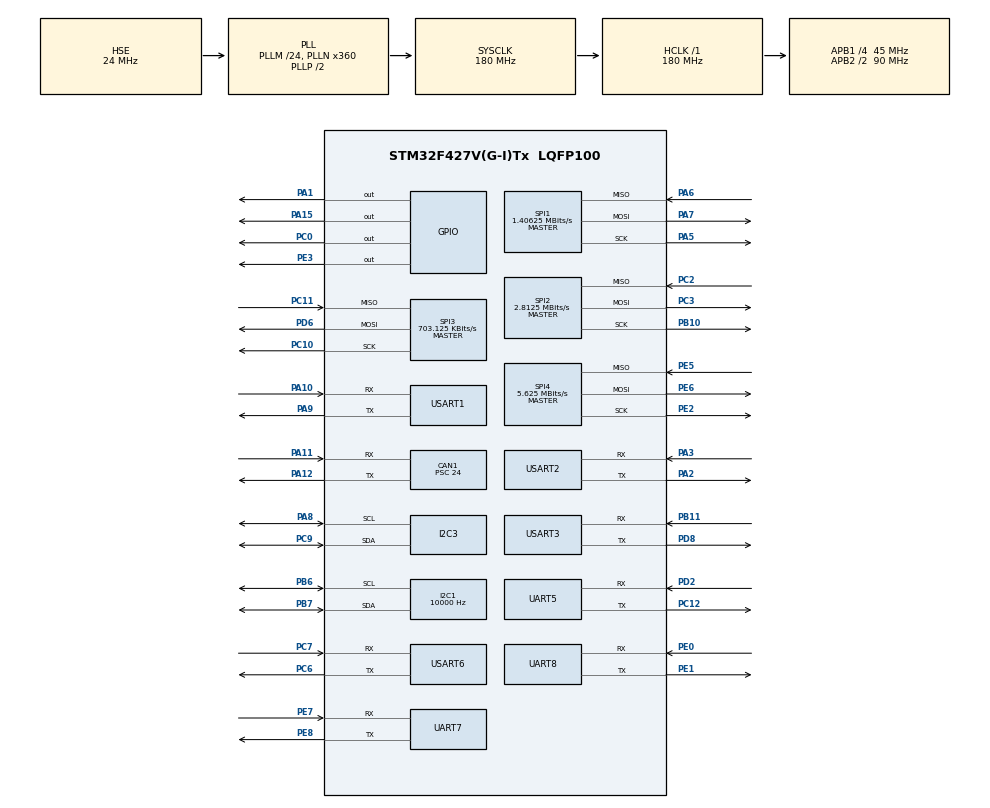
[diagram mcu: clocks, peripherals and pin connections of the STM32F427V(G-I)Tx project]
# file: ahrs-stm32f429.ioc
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CAN1.BS1=CAN_BS1_12TQ
CAN1.BS2=CAN_BS2_2TQ
CAN1.CalculateTimeQuantum=533.3333333333333
CAN1.NART=ENABLE
CAN1.Prescaler=24
I2C1.ClockSpeed=10000
Mcu.Family=STM32F4
Mcu.Name=STM32F427V(G-I)Tx
Mcu.Package=LQFP100
NVIC.CAN1_RX0_IRQn=true\:0\:0\:false\:false\:true\:true\:true
NVIC.CAN1_RX1_IRQn=true\:0\:0\:false\:false\:true\:true\:true
NVIC.CAN1_SCE_IRQn=true\:0\:0\:false\:false\:true\:true\:true
NVIC.CAN1_TX_IRQn=true\:0\:0\:false\:false\:true\:true\:true
NVIC.PriorityGroup=NVIC_PRIORITYGROUP_4
PA1.GPIO_PuPd=GPIO_PULLUP
PA1.PinState=GPIO_PIN_SET
PA1.Signal=GPIO_Output
PA10.Mode=Asynchronous
PA10.Signal=USART1_RX
PA11.Mode=Master
PA11.Signal=CAN1_RX
PA12.Mode=Master
PA12.Signal=CAN1_TX
PA13.Mode=Trace_Asynchronous_SW
PA13.Signal=SYS_JTMS-SWDIO
PA14.Mode=Trace_Asynchronous_SW
PA14.Signal=SYS_JTCK-SWCLK
PA15.Signal=GPIO_Output
PA2.Mode=Asynchronous
PA2.Signal=USART2_TX
PA3.Mode=Asynchronous
PA3.Signal=USART2_RX
PA5.GPIO_PuPd=GPIO_PULLUP
PA5.Mode=Full_Duplex_Master
PA5.Signal=SPI1_SCK
PA6.GPIO_PuPd=GPIO_PULLUP
PA6.Mode=Full_Duplex_Master
PA6.Signal=SPI1_MISO
PA7.GPIO_PuPd=GPIO_PULLUP
PA7.Mode=Full_Duplex_Master
PA7.Signal=SPI1_MOSI
PA8.Mode=I2C
PA8.Signal=I2C3_SCL
PA9.Mode=Asynchronous
PA9.Signal=USART1_TX
PB10.GPIO_Mode=GPIO_MODE_AF_PP
PB10.GPIO_PuPd=GPIO_PULLUP
PB10.GPIO_Speed=GPIO_SPEED_FREQ_VERY_HIGH
PB10.Mode=Full_Duplex_Master
PB10.Signal=SPI2_SCK
PB11.Mode=Asynchronous
PB11.Signal=USART3_RX
PB3.Mode=Trace_Asynchronous_SW
PB3.Signal=SYS_JTDO-SWO
PB6.Mode=I2C
PB6.Signal=I2C1_SCL
PB7.Mode=I2C
PB7.Signal=I2C1_SDA
PC0.GPIO_ModeDefaultOutputPP=GPIO_MODE_OUTPUT_PP
PC0.GPIO_PuPd=GPIO_PULLUP
PC0.GPIO_Speed=GPIO_SPEED_FREQ_LOW
PC0.PinState=GPIO_PIN_SET
PC0.Signal=GPIO_Output
PC10.Mode=Full_Duplex_Master
PC10.Signal=SPI3_SCK
PC11.Mode=Full_Duplex_Master
PC11.Signal=SPI3_MISO
PC12.Mode=Asynchronous
PC12.Signal=UART5_TX
PC2.GPIO_Mode=GPIO_MODE_AF_PP
PC2.GPIO_PuPd=GPIO_PULLUP
PC2.GPIO_Speed=GPIO_SPEED_FREQ_VERY_HIGH
PC2.Mode=Full_Duplex_Master
PC2.Signal=SPI2_MISO
PC3.GPIO_Mode=GPIO_MODE_AF_PP
PC3.GPIO_PuPd=GPIO_PULLUP
PC3.GPIO_Speed=GPIO_SPEED_FREQ_VERY_HIGH
PC3.Mode=Full_Duplex_Master
PC3.Signal=SPI2_MOSI
PC6.Mode=Asynchronous
PC6.Signal=USART6_TX
PC7.Mode=Asynchronous
PC7.Signal=USART6_RX
PC9.Mode=I2C
PC9.Signal=I2C3_SDA
PD2.Mode=Asynchronous
PD2.Signal=UART5_RX
PD6.Mode=Full_Duplex_Master
PD6.Signal=SPI3_MOSI
PD8.Mode=Asynchronous
PD8.Signal=USART3_TX
PE0.Mode=Asynchronous
PE0.Signal=UART8_RX
PE1.Mode=Asynchronous
PE1.Signal=UART8_TX
PE2.Mode=Full_Duplex_Master
PE2.Signal=SPI4_SCK
PE3.Signal=GPIO_Output
PE5.Mode=Full_Duplex_Master
PE5.Signal=SPI4_MISO
PE6.Mode=Full_Duplex_Master
PE6.Signal=SPI4_MOSI
PE7.Mode=Asynchronous
PE7.Signal=UART7_RX
PE8.Mode=Asynchronous
PE8.Signal=UART7_TX
PH0/OSC_IN.Mode=HSE-External-Oscillator
PH0/OSC_IN.Signal=RCC_OSC_IN
PH1/OSC_OUT.Mode=HSE-External-Oscillator
PH1/OSC_OUT.Signal=RCC_OSC_OUT
ProjectManager.HeapSize=0x200
ProjectManager.StackSize=0x400
ProjectManager.TargetToolchain=Makefile
RCC.48MHZClocksFreq_Value=90000000
RCC.AHBFreq_Value=180000000
RCC.APB1CLKDivider=RCC_HCLK_DIV4
RCC.APB1Freq_Value=45000000
RCC.APB1TimFreq_Value=90000000
RCC.APB2CLKDivider=RCC_HCLK_DIV2
RCC.APB2Freq_Value=90000000
RCC.APB2TimFreq_Value=180000000
RCC.CortexFreq_Value=180000000
RCC.HCLKFreq_Value=180000000
RCC.HSE_VALUE=24000000
RCC.HSI_VALUE=16000000
RCC.LSE_VALUE=32768
RCC.PLLM=24
RCC.PLLN=360
RCC.PLLSourceVirtual=RCC_PLLSOURCE_HSE
RCC.SYSCLKFreq_VALUE=180000000
RCC.SYSCLKSource=RCC_SYSCLKSOURCE_PLLCLK
RCC.VCOOutputFreq_Value=360000000
SPI1.BaudRatePrescaler=SPI_BAUDRATEPRESCALER_64
SPI1.CLKPhase=SPI_PHASE_2EDGE
SPI1.CLKPolarity=SPI_POLARITY_HIGH
SPI1.CalculateBaudRate=1.40625 MBits/s
SPI1.Direction=SPI_DIRECTION_2LINES
SPI1.Mode=SPI_MODE_MASTER
SPI1.VirtualType=VM_MASTER
SPI2.BaudRatePrescaler=SPI_BAUDRATEPRESCALER_16
SPI2.CLKPhase=SPI_PHASE_2EDGE
SPI2.CLKPolarity=SPI_POLARITY_HIGH
SPI2.CalculateBaudRate=2.8125 MBits/s
SPI2.Direction=SPI_DIRECTION_2LINES
SPI2.Mode=SPI_MODE_MASTER
SPI2.VirtualType=VM_MASTER
SPI3.BaudRatePrescaler=SPI_BAUDRATEPRESCALER_64
SPI3.CalculateBaudRate=703.125 KBits/s
SPI3.Direction=SPI_DIRECTION_2LINES
SPI3.Mode=SPI_MODE_MASTER
SPI3.VirtualType=VM_MASTER
SPI4.BaudRatePrescaler=SPI_BAUDRATEPRESCALER_16
SPI4.CalculateBaudRate=5.625 MBits/s
SPI4.Direction=SPI_DIRECTION_2LINES
SPI4.Mode=SPI_MODE_MASTER
SPI4.VirtualType=VM_MASTER
UART5.VirtualMode=Asynchronous
UART7.VirtualMode=Asynchronous
UART8.VirtualMode=Asynchronous
USART1.VirtualMode=VM_ASYNC
USART2.VirtualMode=VM_ASYNC
USART3.VirtualMode=VM_ASYNC
USART6.VirtualMode=VM_ASYNC
board=custom

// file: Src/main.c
/* USER CODE BEGIN Header */
/**
  ******************************************************************************
  * @file           : main.c
  * @brief          : Main program body
  ******************************************************************************
  * @attention
  *
  * <h2><center>&copy; Copyright (c) 2019 STMicroelectronics.
  * All rights reserved.</center></h2>
  *
  * This software component is licensed by ST under BSD 3-Clause license,
  * the "License"; You may not use this file except in compliance with the
  * License. You may obtain a copy of the License at:
  *                        opensource.org/licenses/BSD-3-Clause
  *
  ******************************************************************************
  */
/* USER CODE END Header */

#include "main.h"

/* USER CODE BEGIN Includes */
#include <stdio.h>
#include <math.h>
#include "can_fix.h"
#include "lsm6ds33.h"
#include "lis3mdl.h"

/* USER CODE END Includes */

CAN_HandleTypeDef hcan1;

I2C_HandleTypeDef hi2c1;
I2C_HandleTypeDef hi2c3;

SPI_HandleTypeDef hspi1;
SPI_HandleTypeDef hspi2;
SPI_HandleTypeDef hspi3;
SPI_HandleTypeDef hspi4;

UART_HandleTypeDef huart5;
UART_HandleTypeDef huart7;
UART_HandleTypeDef huart8;
UART_HandleTypeDef huart1;
UART_HandleTypeDef huart2;
UART_HandleTypeDef huart3;
UART_HandleTypeDef huart6;

void SystemClock_Config(void);
static void MX_GPIO_Init(void);
static void MX_SPI2_Init(void);
static void MX_USART1_UART_Init(void);
static void MX_USART2_UART_Init(void);
static void MX_CAN1_Init(void);
static void MX_I2C3_Init(void);
static void MX_SPI1_Init(void);
static void MX_SPI3_Init(void);
static void MX_SPI4_Init(void);
static void MX_UART5_Init(void);
static void MX_UART7_Init(void);
static void MX_UART8_Init(void);
static void MX_USART3_UART_Init(void);
static void MX_USART6_UART_Init(void);
static void MX_I2C1_Init(void);

/* USER CODE BEGIN 0 */

int __io_putchar(int ch)
{
  HAL_UART_Transmit(&huart8, (uint8_t *)&ch, 1, 0xFFFF);

  return ch;
}

int send_can_fix_msg(uint32_t msg_id, normal_data *msg)
{
  CAN_TxHeaderTypeDef tx_header;
  uint8_t tx_data[8] = {0};
  uint32_t tx_mailbox;
  int i = 3;

  tx_header.StdId = msg_id;
  tx_header.RTR = CAN_RTR_DATA;
  tx_header.IDE = CAN_ID_STD;
  tx_header.DLC = 7;
  tx_header.TransmitGlobalTime = DISABLE;

  tx_data[0] = msg->node;
  tx_data[1] = msg->index;
  tx_data[2] = msg->status_code;

  for (i = 0; i < 4; i++) {
      tx_data[i + 3] = (msg->data >> (8 * i)) & 0xFF;
  }

  //if(HAL_CAN_GetTxMailboxesFreeLevel(&hcan1) == 0) {
  //  return -1;
  //}
  while(HAL_CAN_GetTxMailboxesFreeLevel(&hcan1) == 0) {
    /* should add timeout here */
  }

  if (HAL_CAN_AddTxMessage(&hcan1, &tx_header, tx_data, &tx_mailbox) != HAL_OK) {
    printf("Error queing CAN TX msg\r\n");
    return -1;
  }

  /* the STM32F427 has 3 tx mailboxes available
   * spin wait if none are free */
//  while(HAL_CAN_GetTxMailboxesFreeLevel(&hcan1) == 0) {
//    /* should add timeout here */
//  }

  return 0;
}

void initialize_CAN()
{
  // This seems to be -s4 speed 125 k
  CAN_FilterTypeDef sFilterConfig;
  sFilterConfig.FilterBank = 0;
  sFilterConfig.FilterMode = CAN_FILTERMODE_IDMASK;
  sFilterConfig.FilterScale = CAN_FILTERSCALE_32BIT;
  sFilterConfig.FilterIdHigh = 0x0000;
  sFilterConfig.FilterIdLow = 0x0000;
  sFilterConfig.FilterMaskIdHigh = 0x0000;
  sFilterConfig.FilterMaskIdLow = 0x0000;
  sFilterConfig.FilterFIFOAssignment = CAN_RX_FIFO0;
  sFilterConfig.FilterActivation = ENABLE;
  sFilterConfig.SlaveStartFilterBank = 14;

  if(HAL_CAN_ConfigFilter(&hcan1, &sFilterConfig) != HAL_OK) {
    /* Filter configuration Error */
    printf("Error configuring CAN filter\r\n");
  }

  if (HAL_CAN_Start(&hcan1) != HAL_OK) {
    printf("Error starting CAN\r\n");
  }
}

/* USER CODE END 0 */

void sweeper(int32_t *p, int32_t min, int32_t max, int32_t incr) {
  *p += incr;
  if (*p > max)
    *p = min;
}

int main(void)
{
  /* USER CODE BEGIN 1 */
  uint16_t airspeed = 0;
  int32_t altitude = 0;
  uint32_t max_altitude = 10000;
  uint16_t max_airspeed = 1400;
  int16_t airspeed_increment = max_airspeed / 250;
  int16_t altitude_increment = max_altitude / 250;
  int32_t heading = 0;
  int32_t pitch = 0;
  int32_t roll = 0;
  /* USER CODE END 1 */

  /* MCU Configuration--------------------------------------------------------*/

  /* Reset of all peripherals, Initializes the Flash interface and the Systick. */
  HAL_Init();

  /* Configure the system clock */
  SystemClock_Config();

  /* Initialize all configured peripherals */
  MX_GPIO_Init();
  MX_SPI2_Init();
  MX_USART1_UART_Init();
  MX_USART2_UART_Init();
  MX_CAN1_Init();
  MX_I2C3_Init();
  MX_SPI1_Init();
  MX_SPI3_Init();
  MX_SPI4_Init();
  MX_UART5_Init();
  MX_UART7_Init();
  MX_UART8_Init();
  MX_USART3_UART_Init();
  MX_USART6_UART_Init();
  MX_I2C1_Init();
  /* USER CODE BEGIN 2 */

  initialize_CAN();

  /* sensors fail if we try to initialize right away */
  HAL_Delay(500);

  if (lsm6ds33_initialize(&hspi1, GPIOA, GPIO_PIN_1))
    printf("LSM6DS33 Initilization Error\r\n");

  if (lis3mdl_initialize(&hspi2, GPIOC, GPIO_PIN_0))
      printf("LIS3MDL Initilization Error\r\n");

  uint8_t state = 0;

  /* USER CODE END 2 */

  /* Infinite loop */
  /* USER CODE BEGIN WHILE */
  while (1)
  {
    int16_t gyro_x;
    int16_t gyro_y;
    int16_t gyro_z;

    int16_t accel_x;
    int16_t accel_y;
    int16_t accel_z;

    int16_t mag_x;
    int16_t mag_y;
    int16_t mag_z;

    lsm6ds33_read_gyro_x(&gyro_x);
    lsm6ds33_read_gyro_y(&gyro_y);
    lsm6ds33_read_gyro_z(&gyro_z);

    lsm6ds33_read_accel_x(&accel_x);
    lsm6ds33_read_accel_y(&accel_y);
    lsm6ds33_read_accel_z(&accel_z);

    double x_buff = accel_x;
    double y_buff = accel_y;
    double z_buff = accel_z;

    lis3mdl_read_mag_x(&mag_x);
    lis3mdl_read_mag_y(&mag_y);
    lis3mdl_read_mag_z(&mag_z);

  /* START CAN BUS REPORTS */
    normal_data payload;
    payload.node = 0x12;
    payload.index = 0;
    payload.status_code = 0;

    sweeper(&pitch, -4500, 4500, 50);
    payload.data = pitch;
    send_can_fix_msg(0x180, &payload);

    sweeper(&roll, -4500, 4500, 50);
    payload.data = roll;
    send_can_fix_msg(0x181, &payload);

    sweeper(&airspeed, 0, 1400, 50);
    payload.data = airspeed;
    send_can_fix_msg(0x183, &payload);

    sweeper(&altitude, 0, 10000, 100);
    payload.data = altitude;
    send_can_fix_msg(0x184, &payload);

    sweeper(&heading, 0, 3600, 50);
    payload.data = heading;
    send_can_fix_msg(0x185, &payload);

    /* Static Pressure Port Sensor */
    uint8_t abs_press_data[4] = {0, 0, 0, 0};
    uint8_t error = HAL_OK;
    error =  HAL_I2C_Master_Receive(&hi2c1, 0x70, abs_press_data, 4, 100);
    if (HAL_OK != error) {
	printf("error: %u\n\r", error);
    }

    uint8_t status = (abs_press_data[0] & 0xC0) >> 6;
    uint16_t bridge_data = ((abs_press_data[0] & 0x3F) << 8) + abs_press_data[1];
    uint16_t temperature_data = (abs_press_data[2] << 3) + ((abs_press_data[3] & 0xE0) >> 5);
    uint16_t temperature = (temperature_data * 200)/2047 - 50;
    uint16_t pressure = ((bridge_data - 1638) * 15 * 1000) / (14745-1638);

    printf("status: %u  pressure (x1000)= %u  temperature = %u\r\n", status, pressure, temperature);

    uint8_t diff_press_data[4] = {0, 0, 0, 0};
    HAL_GPIO_WritePin(GPIOA, GPIO_PIN_15, GPIO_PIN_RESET);
    HAL_SPI_Receive(&hspi3, diff_press_data, sizeof(diff_press_data), 100);
    HAL_GPIO_WritePin(GPIOA, GPIO_PIN_15, GPIO_PIN_SET);

    temperature_data = (diff_press_data[2] << 3) + ((diff_press_data[3] & 0xE0) >> 5);
    temperature = (temperature_data * 200)/2047 - 50;

    printf("temperature: %u\n\r", temperature);
    printf("hello world\n\r");
    uint8_t buffer[20];
    //strcpy(buffer, "hello world");
    buffer[0] = 'h';
    buffer[1] = 'i';
    HAL_UART_Transmit(&huart2, buffer, 2, HAL_MAX_DELAY);

    HAL_Delay(150);
    /* USER CODE END WHILE */

  }
}

void SystemClock_Config(void)
{
  RCC_OscInitTypeDef RCC_OscInitStruct = {0};
  RCC_ClkInitTypeDef RCC_ClkInitStruct = {0};

  /** Configure the main internal regulator output voltage
  */
  __HAL_RCC_PWR_CLK_ENABLE();
  __HAL_PWR_VOLTAGESCALING_CONFIG(PWR_REGULATOR_VOLTAGE_SCALE1);
  /** Initializes the CPU, AHB and APB busses clocks
  */
  RCC_OscInitStruct.OscillatorType = RCC_OSCILLATORTYPE_HSE;
  RCC_OscInitStruct.HSEState = RCC_HSE_ON;
  RCC_OscInitStruct.PLL.PLLState = RCC_PLL_ON;
  RCC_OscInitStruct.PLL.PLLSource = RCC_PLLSOURCE_HSE;
  RCC_OscInitStruct.PLL.PLLM = 24;
  RCC_OscInitStruct.PLL.PLLN = 360;
  RCC_OscInitStruct.PLL.PLLP = RCC_PLLP_DIV2;
  RCC_OscInitStruct.PLL.PLLQ = 4;
  if (HAL_RCC_OscConfig(&RCC_OscInitStruct) != HAL_OK)
  {
    Error_Handler();
  }
  /** Activate the Over-Drive mode
  */
  if (HAL_PWREx_EnableOverDrive() != HAL_OK)
  {
    Error_Handler();
  }
  /** Initializes the CPU, AHB and APB busses clocks
  */
  RCC_ClkInitStruct.ClockType = RCC_CLOCKTYPE_HCLK|RCC_CLOCKTYPE_SYSCLK
                              |RCC_CLOCKTYPE_PCLK1|RCC_CLOCKTYPE_PCLK2;
  RCC_ClkInitStruct.SYSCLKSource = RCC_SYSCLKSOURCE_PLLCLK;
  RCC_ClkInitStruct.AHBCLKDivider = RCC_SYSCLK_DIV1;
  RCC_ClkInitStruct.APB1CLKDivider = RCC_HCLK_DIV4;
  RCC_ClkInitStruct.APB2CLKDivider = RCC_HCLK_DIV2;

  if (HAL_RCC_ClockConfig(&RCC_ClkInitStruct, FLASH_LATENCY_5) != HAL_OK)
  {
    Error_Handler();
  }
}

static void MX_CAN1_Init(void)
{

  hcan1.Instance = CAN1;
  hcan1.Init.Prescaler = 24;
  hcan1.Init.Mode = CAN_MODE_NORMAL;
  hcan1.Init.SyncJumpWidth = CAN_SJW_1TQ;
  hcan1.Init.TimeSeg1 = CAN_BS1_12TQ;
  hcan1.Init.TimeSeg2 = CAN_BS2_2TQ;
  hcan1.Init.TimeTriggeredMode = DISABLE;
  hcan1.Init.AutoBusOff = DISABLE;
  hcan1.Init.AutoWakeUp = DISABLE;
  hcan1.Init.AutoRetransmission = ENABLE;
  hcan1.Init.ReceiveFifoLocked = DISABLE;
  hcan1.Init.TransmitFifoPriority = DISABLE;
  if (HAL_CAN_Init(&hcan1) != HAL_OK)
  {
    Error_Handler();
  }

}

static void MX_I2C1_Init(void)
{

  hi2c1.Instance = I2C1;
  hi2c1.Init.ClockSpeed = 10000;
  hi2c1.Init.DutyCycle = I2C_DUTYCYCLE_2;
  hi2c1.Init.OwnAddress1 = 0;
  hi2c1.Init.AddressingMode = I2C_ADDRESSINGMODE_7BIT;
  hi2c1.Init.DualAddressMode = I2C_DUALADDRESS_DISABLE;
  hi2c1.Init.OwnAddress2 = 0;
  hi2c1.Init.GeneralCallMode = I2C_GENERALCALL_DISABLE;
  hi2c1.Init.NoStretchMode = I2C_NOSTRETCH_DISABLE;
  if (HAL_I2C_Init(&hi2c1) != HAL_OK)
  {
    Error_Handler();
  }
  /** Configure Analogue filter
  */
  if (HAL_I2CEx_ConfigAnalogFilter(&hi2c1, I2C_ANALOGFILTER_ENABLE) != HAL_OK)
  {
    Error_Handler();
  }
  /** Configure Digital filter
  */
  if (HAL_I2CEx_ConfigDigitalFilter(&hi2c1, 0) != HAL_OK)
  {
    Error_Handler();
  }

}

static void MX_I2C3_Init(void)
{

  hi2c3.Instance = I2C3;
  hi2c3.Init.ClockSpeed = 100000;
  hi2c3.Init.DutyCycle = I2C_DUTYCYCLE_2;
  hi2c3.Init.OwnAddress1 = 0;
  hi2c3.Init.AddressingMode = I2C_ADDRESSINGMODE_7BIT;
  hi2c3.Init.DualAddressMode = I2C_DUALADDRESS_DISABLE;
  hi2c3.Init.OwnAddress2 = 0;
  hi2c3.Init.GeneralCallMode = I2C_GENERALCALL_DISABLE;
  hi2c3.Init.NoStretchMode = I2C_NOSTRETCH_DISABLE;
  if (HAL_I2C_Init(&hi2c3) != HAL_OK)
  {
    Error_Handler();
  }
  /** Configure Analogue filter
  */
  if (HAL_I2CEx_ConfigAnalogFilter(&hi2c3, I2C_ANALOGFILTER_ENABLE) != HAL_OK)
  {
    Error_Handler();
  }
  /** Configure Digital filter
  */
  if (HAL_I2CEx_ConfigDigitalFilter(&hi2c3, 0) != HAL_OK)
  {
    Error_Handler();
  }

}

static void MX_SPI1_Init(void)
{

  /* SPI1 parameter configuration*/
  hspi1.Instance = SPI1;
  hspi1.Init.Mode = SPI_MODE_MASTER;
  hspi1.Init.Direction = SPI_DIRECTION_2LINES;
  hspi1.Init.DataSize = SPI_DATASIZE_8BIT;
  hspi1.Init.CLKPolarity = SPI_POLARITY_HIGH;
  hspi1.Init.CLKPhase = SPI_PHASE_2EDGE;
  hspi1.Init.NSS = SPI_NSS_SOFT;
  hspi1.Init.BaudRatePrescaler = SPI_BAUDRATEPRESCALER_64;
  hspi1.Init.FirstBit = SPI_FIRSTBIT_MSB;
  hspi1.Init.TIMode = SPI_TIMODE_DISABLE;
  hspi1.Init.CRCCalculation = SPI_CRCCALCULATION_DISABLE;
  hspi1.Init.CRCPolynomial = 10;
  if (HAL_SPI_Init(&hspi1) != HAL_OK)
  {
    Error_Handler();
  }

}

static void MX_SPI2_Init(void)
{

  /* SPI2 parameter configuration*/
  hspi2.Instance = SPI2;
  hspi2.Init.Mode = SPI_MODE_MASTER;
  hspi2.Init.Direction = SPI_DIRECTION_2LINES;
  hspi2.Init.DataSize = SPI_DATASIZE_8BIT;
  hspi2.Init.CLKPolarity = SPI_POLARITY_HIGH;
  hspi2.Init.CLKPhase = SPI_PHASE_2EDGE;
  hspi2.Init.NSS = SPI_NSS_SOFT;
  hspi2.Init.BaudRatePrescaler = SPI_BAUDRATEPRESCALER_16;
  hspi2.Init.FirstBit = SPI_FIRSTBIT_MSB;
  hspi2.Init.TIMode = SPI_TIMODE_DISABLE;
  hspi2.Init.CRCCalculation = SPI_CRCCALCULATION_DISABLE;
  hspi2.Init.CRCPolynomial = 10;
  if (HAL_SPI_Init(&hspi2) != HAL_OK)
  {
    Error_Handler();
  }

}

static void MX_SPI3_Init(void)
{

  /* SPI3 parameter configuration*/
  hspi3.Instance = SPI3;
  hspi3.Init.Mode = SPI_MODE_MASTER;
  hspi3.Init.Direction = SPI_DIRECTION_2LINES;
  hspi3.Init.DataSize = SPI_DATASIZE_8BIT;
  hspi3.Init.CLKPolarity = SPI_POLARITY_LOW;
  hspi3.Init.CLKPhase = SPI_PHASE_1EDGE;
  hspi3.Init.NSS = SPI_NSS_SOFT;
  hspi3.Init.BaudRatePrescaler = SPI_BAUDRATEPRESCALER_64;
  hspi3.Init.FirstBit = SPI_FIRSTBIT_MSB;
  hspi3.Init.TIMode = SPI_TIMODE_DISABLE;
  hspi3.Init.CRCCalculation = SPI_CRCCALCULATION_DISABLE;
  hspi3.Init.CRCPolynomial = 10;
  if (HAL_SPI_Init(&hspi3) != HAL_OK)
  {
    Error_Handler();
  }

}

static void MX_SPI4_Init(void)
{

  /* SPI4 parameter configuration*/
  hspi4.Instance = SPI4;
  hspi4.Init.Mode = SPI_MODE_MASTER;
  hspi4.Init.Direction = SPI_DIRECTION_2LINES;
  hspi4.Init.DataSize = SPI_DATASIZE_8BIT;
  hspi4.Init.CLKPolarity = SPI_POLARITY_LOW;
  hspi4.Init.CLKPhase = SPI_PHASE_1EDGE;
  hspi4.Init.NSS = SPI_NSS_SOFT;
  hspi4.Init.BaudRatePrescaler = SPI_BAUDRATEPRESCALER_16;
  hspi4.Init.FirstBit = SPI_FIRSTBIT_MSB;
  hspi4.Init.TIMode = SPI_TIMODE_DISABLE;
  hspi4.Init.CRCCalculation = SPI_CRCCALCULATION_DISABLE;
  hspi4.Init.CRCPolynomial = 10;
  if (HAL_SPI_Init(&hspi4) != HAL_OK)
  {
    Error_Handler();
  }

}

static void MX_UART5_Init(void)
{

  huart5.Instance = UART5;
  huart5.Init.BaudRate = 115200;
  huart5.Init.WordLength = UART_WORDLENGTH_8B;
  huart5.Init.StopBits = UART_STOPBITS_1;
  huart5.Init.Parity = UART_PARITY_NONE;
  huart5.Init.Mode = UART_MODE_TX_RX;
  huart5.Init.HwFlowCtl = UART_HWCONTROL_NONE;
  huart5.Init.OverSampling = UART_OVERSAMPLING_16;
  if (HAL_UART_Init(&huart5) != HAL_OK)
  {
    Error_Handler();
  }

}

static void MX_UART7_Init(void)
{

  huart7.Instance = UART7;
  huart7.Init.BaudRate = 115200;
  huart7.Init.WordLength = UART_WORDLENGTH_8B;
  huart7.Init.StopBits = UART_STOPBITS_1;
  huart7.Init.Parity = UART_PARITY_NONE;
  huart7.Init.Mode = UART_MODE_TX_RX;
  huart7.Init.HwFlowCtl = UART_HWCONTROL_NONE;
  huart7.Init.OverSampling = UART_OVERSAMPLING_16;
  if (HAL_UART_Init(&huart7) != HAL_OK)
  {
    Error_Handler();
  }

}

static void MX_UART8_Init(void)
{

  huart8.Instance = UART8;
  huart8.Init.BaudRate = 115200;
  huart8.Init.WordLength = UART_WORDLENGTH_8B;
  huart8.Init.StopBits = UART_STOPBITS_1;
  huart8.Init.Parity = UART_PARITY_NONE;
  huart8.Init.Mode = UART_MODE_TX_RX;
  huart8.Init.HwFlowCtl = UART_HWCONTROL_NONE;
  huart8.Init.OverSampling = UART_OVERSAMPLING_16;
  if (HAL_UART_Init(&huart8) != HAL_OK)
  {
    Error_Handler();
  }

}

static void MX_USART1_UART_Init(void)
{

  huart1.Instance = USART1;
  huart1.Init.BaudRate = 115200;
  huart1.Init.WordLength = UART_WORDLENGTH_8B;
  huart1.Init.StopBits = UART_STOPBITS_1;
  huart1.Init.Parity = UART_PARITY_NONE;
  huart1.Init.Mode = UART_MODE_TX_RX;
  huart1.Init.HwFlowCtl = UART_HWCONTROL_NONE;
  huart1.Init.OverSampling = UART_OVERSAMPLING_16;
  if (HAL_UART_Init(&huart1) != HAL_OK)
  {
    Error_Handler();
  }

}

static void MX_USART2_UART_Init(void)
{

  huart2.Instance = USART2;
  huart2.Init.BaudRate = 115200;
  huart2.Init.WordLength = UART_WORDLENGTH_8B;
  huart2.Init.StopBits = UART_STOPBITS_1;
  huart2.Init.Parity = UART_PARITY_NONE;
  huart2.Init.Mode = UART_MODE_TX_RX;
  huart2.Init.HwFlowCtl = UART_HWCONTROL_NONE;
  huart2.Init.OverSampling = UART_OVERSAMPLING_16;
  if (HAL_UART_Init(&huart2) != HAL_OK)
  {
    Error_Handler();
  }

}

static void MX_USART3_UART_Init(void)
{

  huart3.Instance = USART3;
  huart3.Init.BaudRate = 115200;
  huart3.Init.WordLength = UART_WORDLENGTH_8B;
  huart3.Init.StopBits = UART_STOPBITS_1;
  huart3.Init.Parity = UART_PARITY_NONE;
  huart3.Init.Mode = UART_MODE_TX_RX;
  huart3.Init.HwFlowCtl = UART_HWCONTROL_NONE;
  huart3.Init.OverSampling = UART_OVERSAMPLING_16;
  if (HAL_UART_Init(&huart3) != HAL_OK)
  {
    Error_Handler();
  }

}

static void MX_USART6_UART_Init(void)
{

  huart6.Instance = USART6;
  huart6.Init.BaudRate = 115200;
  huart6.Init.WordLength = UART_WORDLENGTH_8B;
  huart6.Init.StopBits = UART_STOPBITS_1;
  huart6.Init.Parity = UART_PARITY_NONE;
  huart6.Init.Mode = UART_MODE_TX_RX;
  huart6.Init.HwFlowCtl = UART_HWCONTROL_NONE;
  huart6.Init.OverSampling = UART_OVERSAMPLING_16;
  if (HAL_UART_Init(&huart6) != HAL_OK)
  {
    Error_Handler();
  }

}

static void MX_GPIO_Init(void)
{
  GPIO_InitTypeDef GPIO_InitStruct = {0};

  /* GPIO Ports Clock Enable */
  __HAL_RCC_GPIOE_CLK_ENABLE();
  __HAL_RCC_GPIOH_CLK_ENABLE();
  __HAL_RCC_GPIOC_CLK_ENABLE();
  __HAL_RCC_GPIOA_CLK_ENABLE();
  __HAL_RCC_GPIOB_CLK_ENABLE();
  __HAL_RCC_GPIOD_CLK_ENABLE();

  /*Configure GPIO pin Output Level */
  HAL_GPIO_WritePin(GPIOE, GPIO_PIN_3, GPIO_PIN_RESET);

  /*Configure GPIO pin Output Level */
  HAL_GPIO_WritePin(GPIOC, GPIO_PIN_0, GPIO_PIN_SET);

  /*Configure GPIO pin Output Level */
  HAL_GPIO_WritePin(GPIOA, GPIO_PIN_1, GPIO_PIN_SET);

  /*Configure GPIO pin Output Level */
  HAL_GPIO_WritePin(GPIOA, GPIO_PIN_15, GPIO_PIN_RESET);

  /*Configure GPIO pin : PE3 */
  GPIO_InitStruct.Pin = GPIO_PIN_3;
  GPIO_InitStruct.Mode = GPIO_MODE_OUTPUT_PP;
  GPIO_InitStruct.Pull = GPIO_NOPULL;
  GPIO_InitStruct.Speed = GPIO_SPEED_FREQ_LOW;
  HAL_GPIO_Init(GPIOE, &GPIO_InitStruct);

  /*Configure GPIO pin : PC0 */
  GPIO_InitStruct.Pin = GPIO_PIN_0;
  GPIO_InitStruct.Mode = GPIO_MODE_OUTPUT_PP;
  GPIO_InitStruct.Pull = GPIO_PULLUP;
  GPIO_InitStruct.Speed = GPIO_SPEED_FREQ_LOW;
  HAL_GPIO_Init(GPIOC, &GPIO_InitStruct);

  /*Configure GPIO pin : PA1 */
  GPIO_InitStruct.Pin = GPIO_PIN_1;
  GPIO_InitStruct.Mode = GPIO_MODE_OUTPUT_PP;
  GPIO_InitStruct.Pull = GPIO_PULLUP;
  GPIO_InitStruct.Speed = GPIO_SPEED_FREQ_LOW;
  HAL_GPIO_Init(GPIOA, &GPIO_InitStruct);

  /*Configure GPIO pin : PA15 */
  GPIO_InitStruct.Pin = GPIO_PIN_15;
  GPIO_InitStruct.Mode = GPIO_MODE_OUTPUT_PP;
  GPIO_InitStruct.Pull = GPIO_NOPULL;
  GPIO_InitStruct.Speed = GPIO_SPEED_FREQ_LOW;
  HAL_GPIO_Init(GPIOA, &GPIO_InitStruct);

}

void Error_Handler(void)
{
}

/************************ (C) COPYRIGHT STMicroelectronics *****END OF FILE****/
